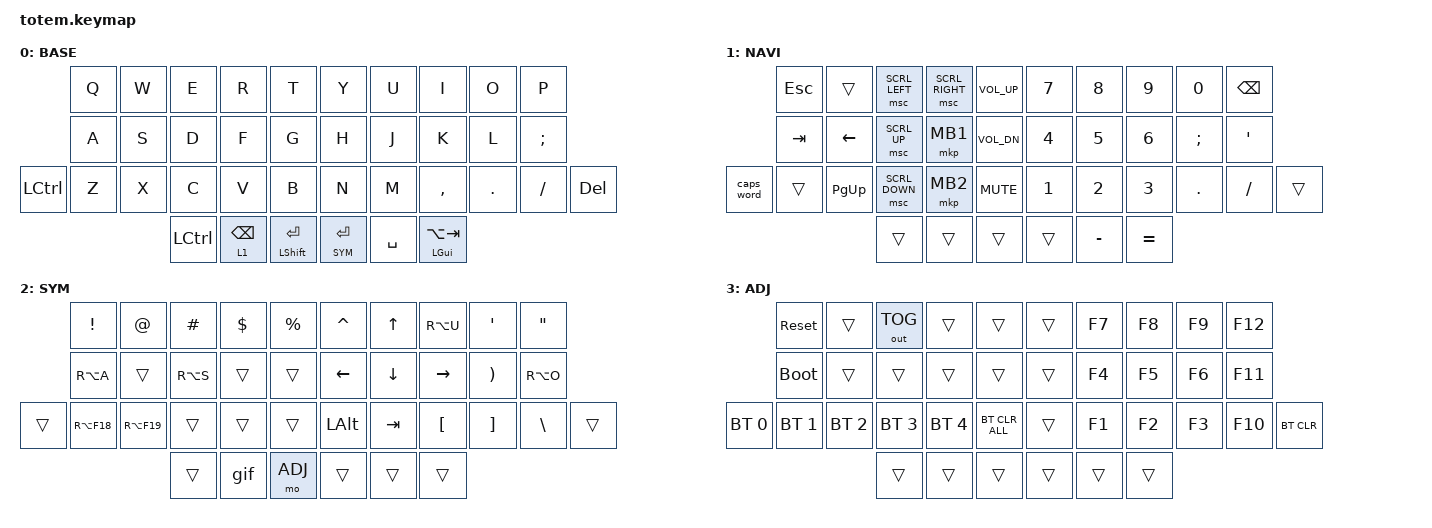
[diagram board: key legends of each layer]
//
//                                                        ▀▀▀▀▀     ▀▀▀▀▀          ▀▀█▀▀
//                                                        ▄▀▀▀▄  ▄  ▄▀▀▀▄  ▄  ▄▀▀▀▄  █  ▄▀▀▀▄
//                                                        █   █  █  █   █  █  █   █  █  █   █
//                                                         ▀▀▀   █   ▀▀▀   █   ▀▀▀   ▀   ▀▀▀
//                                                               █      ▄▄▄█▄▄▄    █   █  
//                                                               ▀      █  █  █     █▄█
//                                                             ▀▀▀▀▀    █  █  █      ▀
//                                                                      ▀  ▀  ▀
//
// ▄▄▄▄▄▄▄▄▄▄▄▄▄▄▄▄▄▄▄▄▄▄▄▄▄▄▄▄▄▄▄▄▄▄▄▄▄▄▄▄▄▄▄▄▄▄▄▄▄▄▄▄▄▄▄▄▄▄▄▄▄▄▄▄▄▄▄▄▄▄▄▄▄▄▄▄▄▄▄▄▄▄▄▄▄▄▄▄▄▄▄▄▄▄▄▄▄▄▄▄▄▄▄▄▄▄▄▄▄▄▄▄▄▄▄▄▄▄▄▄▄▄▄▄▄▄▄▄▄▄▄▄▄▄▄▄▄▄▄▄▄▄▄▄▄▄▄▄▄

#include <behaviors.dtsi>
#include <dt-bindings/zmk/bt.h>
#include <dt-bindings/zmk/keys.h>
#include <dt-bindings/zmk/outputs.h>
#include <dt-bindings/zmk/pointing.h>

#define BASE 0
#define NAV  1
#define SYM  2
#define ADJ  3

&mt {
    quick-tap-ms = <100>;
    global-quick-tap;
    flavor = "tap-preferred";
    tapping-term-ms = <170>;
};

/ {
    combos {
        compatible = "zmk,combos";

        combo_esc {
            timeout-ms = <50>;
            key-positions = <0 1>;
            bindings = <&kp ESC>;
        };
    };

    macros {
        gif: gif {
            label = "giphy";
            compatible = "zmk,behavior-macro";
            #binding-cells = <0>;
            bindings =
                <&macro_press>,
                <&kp LSHFT>,
                <&macro_tap>,
                <&kp N2>,
                <&macro_release>,
                <&kp LSHFT>,
                <&macro_tap>,
                <&kp G &kp I &kp F>;
        };
    };

    keymap {
        compatible = "zmk,keymap";

        // ▄▄▄▄▄▄▄▄▄▄▄▄▄▄▄▄▄▄▄▄▄▄▄▄▄▄▄▄▄▄▄▄▄▄▄▄▄▄▄▄▄▄▄▄▄▄▄▄▄▄▄▄▄▄▄▄▄▄▄▄▄▄▄▄▄▄▄▄▄▄▄▄▄▄▄▄▄▄▄▄▄▄▄▄▄▄▄▄▄▄▄▄▄▄▄▄▄▄▄▄▄▄▄▄▄▄▄▄▄▄▄▄▄▄▄▄▄▄▄▄▄▄▄▄▄▄▄▄▄▄▄▄▄▄▄▄▄▄▄▄▄▄▄▄▄▄▄▄▄

        base_layer {
            // ┏━━━━━━━━━━━━━━━━━━━━━━━━━━━━━━━━━━━━━━━┓

            label = "BASE";

            // ┗━━━━━━━━━━━━━━━━━━━━━━━━━━━━━━━━━━━━━━━┛
            //             ┏━━━━━━━━━━━┳━━━━━━━━━━━┳━━━━━━━━━━━┳━━━━━━━━━━━┳━━━━━━━━━━━┓   ┏━━━━━━━━━━━┳━━━━━━━━━━━┳━━━━━━━━━━━┳━━━━━━━━━━━┳━━━━━━━━━━━┓
            //             ┃     Q     ┃     W     ┃     F     ┃     P     ┃     G     ┃   ┃     J     ┃     L     ┃     U     ┃     Y     ┃     ;     ┃
            //             ┣━━━━━━━━━━━╋━━━━━━━━━━━╋━━━━━━━━━━━╋━━━━━━━━━━━╋━━━━━━━━━━━┫   ┣━━━━━━━━━━━╋━━━━━━━━━━━╋━━━━━━━━━━━╋━━━━━━━━━━━╋━━━━━━━━━━━┫
            //             ┃     A     ┃     R     ┃     S     ┃     T     ┃     D     ┃   ┃     H     ┃     N     ┃     E     ┃     I     ┃     O     ┃
            // ┏━━━━━━━━━━━╋━━━━━━━━━━━╋━━━━━━━━━━━╋━━━━━━━━━━━╋━━━━━━━━━━━╋━━━━━━━━━━━┫   ┣━━━━━━━━━━━╋━━━━━━━━━━━╋━━━━━━━━━━━╋━━━━━━━━━━━╋━━━━━━━━━━━╋━━━━━━━━━━━┓
            // ┃           ┃     Z     ┃     X     ┃     C     ┃     V     ┃     B     ┃   ┃     K     ┃     M     ┃     ,     ┃     .     ┃     /     ┃           ┃
            // ┗━━━━━━━━━━━┻━━━━━━━━━━━┻━━━━━━━━━━━╋━━━━━━━━━━━╋━━━━━━━━━━━╋━━━━━━━━━━━┫   ┣━━━━━━━━━━━╋━━━━━━━━━━━╋━━━━━━━━━━━╋━━━━━━━━━━━┻━━━━━━━━━━━┻━━━━━━━━━━━┛
            //                                     ┃           ┃    TAB    ┃    SPC    ┃   ┃   ENTER   ┃   BSPC    ┃           ┃
            //                                     ┗━━━━━━━━━━━┻━━━━━━━━━━━┻━━━━━━━━━━━┛   ┗━━━━━━━━━━━┻━━━━━━━━━━━┻━━━━━━━━━━━┛

            bindings = <
                  &kp Q  &kp W  &kp E             &kp R            &kp T                   &kp Y        &kp U      &kp I                 &kp O    &kp P
                  &kp A  &kp S  &kp D             &kp F            &kp G                   &kp H        &kp J      &kp K                 &kp L    &kp SEMICOLON
&kp LEFT_CONTROL  &kp Z  &kp X  &kp C             &kp V            &kp B                   &kp N        &kp M      &kp COMMA             &kp DOT  &kp SLASH      &kp DEL
                                &kp LEFT_CONTROL  &lt 1 BACKSPACE  &mt LEFT_SHIFT ENTER    &lt SYM RET  &kp SPACE  &mt LEFT_GUI LA(TAB)
            >;
        };

        // ▄▄▄▄▄▄▄▄▄▄▄▄▄▄▄▄▄▄▄▄▄▄▄▄▄▄▄▄▄▄▄▄▄▄▄▄▄▄▄▄▄▄▄▄▄▄▄▄▄▄▄▄▄▄▄▄▄▄▄▄▄▄▄▄▄▄▄▄▄▄▄▄▄▄▄▄▄▄▄▄▄▄▄▄▄▄▄▄▄▄▄▄▄▄▄▄▄▄▄▄▄▄▄▄▄▄▄▄▄▄▄▄▄▄▄▄▄▄▄▄▄▄▄▄▄▄▄▄▄▄▄▄▄▄▄▄▄▄▄▄▄▄▄▄▄▄▄▄▄

        nav_layer {
            // ┏━━━━━━━━━━━━━━━━━━━━━━━━━━━━━━━━━━━━━━━┓

            label = "NAVI";

            // ┗━━━━━━━━━━━━━━━━━━━━━━━━━━━━━━━━━━━━━━━┛
            //             ┏━━━━━━━━━━━┳━━━━━━━━━━━┳━━━━━━━━━━━┳━━━━━━━━━━━┳━━━━━━━━━━━┓   ┏━━━━━━━━━━━┳━━━━━━━━━━━┳━━━━━━━━━━━┳━━━━━━━━━━━┳━━━━━━━━━━━┓
            //             ┃           ┃           ┃     UP    ┃           ┃     {     ┃   ┃     }     ┃     7     ┃     8     ┃     9     ┃     +     ┃
            //             ┣━━━━━━━━━━━╋━━━━━━━━━━━╋━━━━━━━━━━━╋━━━━━━━━━━━╋━━━━━━━━━━━┫   ┣━━━━━━━━━━━╋━━━━━━━━━━━╋━━━━━━━━━━━╋━━━━━━━━━━━╋━━━━━━━━━━━┫
            //             ┃   SHIFT   ┃   LEFT    ┃    DOWN   ┃   RIGHT   ┃     [     ┃   ┃     ]     ┃     4     ┃     5     ┃     6     ┃     -     ┃
            // ┏━━━━━━━━━━━╋━━━━━━━━━━━╋━━━━━━━━━━━╋━━━━━━━━━━━╋━━━━━━━━━━━╋━━━━━━━━━━━┫   ┣━━━━━━━━━━━╋━━━━━━━━━━━╋━━━━━━━━━━━╋━━━━━━━━━━━╋━━━━━━━━━━━╋━━━━━━━━━━━┓
            // ┃           ┃           ┃   P UP    ┃  C LOCK   ┃  P DOWN   ┃     (     ┃   ┃     )     ┃     1     ┃     2     ┃     3     ┃     *     ┃           ┃
            // ┗━━━━━━━━━━━┻━━━━━━━━━━━┻━━━━━━━━━━━╋━━━━━━━━━━━╋━━━━━━━━━━━╋━━━━━━━━━━━┫   ┣━━━━━━━━━━━╋━━━━━━━━━━━╋━━━━━━━━━━━╋━━━━━━━━━━━┻━━━━━━━━━━━┻━━━━━━━━━━━┛
            //                                     ┃           ┃    TAB    ┃    SPC    ┃   ┃    DEL    ┃     0     ┃           ┃
            //                                     ┗━━━━━━━━━━━┻━━━━━━━━━━━┻━━━━━━━━━━━┛   ┗━━━━━━━━━━━┻━━━━━━━━━━━┻━━━━━━━━━━━┛

            bindings = <
            &kp ESC  &trans     &msc SCRL_LEFT  &msc SCRL_RIGHT  &kp C_VOLUME_UP    &kp N7        &kp N8        &kp N9        &kp N0         &kp BACKSPACE
            &kp TAB  &kp LEFT   &msc SCRL_UP    &mkp MB1         &kp C_VOL_DN       &kp NUMBER_4  &kp N5        &kp NUMBER_6  &kp SEMICOLON  &kp SQT
&caps_word  &trans   &kp PG_UP  &msc SCRL_DOWN  &mkp MB2         &kp K_MUTE         &kp NUMBER_1  &kp NUMBER_2  &kp NUMBER_3  &kp PERIOD     &kp SLASH      &trans
                                &trans          &trans           &trans             &trans        &kp MINUS     &kp EQUAL
            >;
        };

        // ▄▄▄▄▄▄▄▄▄▄▄▄▄▄▄▄▄▄▄▄▄▄▄▄▄▄▄▄▄▄▄▄▄▄▄▄▄▄▄▄▄▄▄▄▄▄▄▄▄▄▄▄▄▄▄▄▄▄▄▄▄▄▄▄▄▄▄▄▄▄▄▄▄▄▄▄▄▄▄▄▄▄▄▄▄▄▄▄▄▄▄▄▄▄▄▄▄▄▄▄▄▄▄▄▄▄▄▄▄▄▄▄▄▄▄▄▄▄▄▄▄▄▄▄▄▄▄▄▄▄▄▄▄▄▄▄▄▄▄▄▄▄▄▄▄▄▄▄▄

        sim_layer {
            // ┏━━━━━━━━━━━━━━━━━━━━━━━━━━━━━━━━━━━━━━━┓

            label = "SYM";

            // ┗━━━━━━━━━━━━━━━━━━━━━━━━━━━━━━━━━━━━━━━┛
            //             ┏━━━━━━━━━━━┳━━━━━━━━━━━┳━━━━━━━━━━━┳━━━━━━━━━━━┳━━━━━━━━━━━┓   ┏━━━━━━━━━━━┳━━━━━━━━━━━┳━━━━━━━━━━━┳━━━━━━━━━━━┳━━━━━━━━━━━┓
            //             ┃     !     ┃     @     ┃     #     ┃     $     ┃     %     ┃   ┃     ˆ     ┃     &     ┃     Ü     ┃     '     ┃     "     ┃
            //             ┣━━━━━━━━━━━╋━━━━━━━━━━━╋━━━━━━━━━━━╋━━━━━━━━━━━╋━━━━━━━━━━━┫   ┣━━━━━━━━━━━╋━━━━━━━━━━━╋━━━━━━━━━━━╋━━━━━━━━━━━╋━━━━━━━━━━━┫
            //             ┃     Ä     ┃           ┃    SZ     ┃           ┃           ┃   ┃   MUTE    ┃   YEN     ┃   EURO    ┃  POUND    ┃     Ö     ┃
            // ┏━━━━━━━━━━━╋━━━━━━━━━━━╋━━━━━━━━━━━╋━━━━━━━━━━━╋━━━━━━━━━━━╋━━━━━━━━━━━┫   ┣━━━━━━━━━━━╋━━━━━━━━━━━╋━━━━━━━━━━━╋━━━━━━━━━━━╋━━━━━━━━━━━╋━━━━━━━━━━━┓
            // ┃           ┃  EMAIL1   ┃  EMAIL2   ┃           ┃           ┃           ┃   ┃   VOL-    ┃   VOL+    ┃   LAST    ┃   NEXT    ┃     \     ┃           ┃
            // ┗━━━━━━━━━━━┻━━━━━━━━━━━┻━━━━━━━━━━━╋━━━━━━━━━━━╋━━━━━━━━━━━╋━━━━━━━━━━━┫   ┣━━━━━━━━━━━╋━━━━━━━━━━━╋━━━━━━━━━━━╋━━━━━━━━━━━┻━━━━━━━━━━━┻━━━━━━━━━━━┛
            //                                     ┃           ┃    GIF    ┃    ADJ    ┃   ┃           ┃           ┃           ┃
            //                                     ┗━━━━━━━━━━━┻━━━━━━━━━━━┻━━━━━━━━━━━┛   ┗━━━━━━━━━━━┻━━━━━━━━━━━┻━━━━━━━━━━━┛

            bindings = <
        &kp EXCL     &kp AT       &kp HASH   &kp DLLR  &kp PRCNT    &kp CARET     &kp UP_ARROW  &kp RA(U)         &kp SQT                &kp DQT
        &kp RA(A)    &trans       &kp RA(S)  &trans    &trans       &kp LEFT      &kp DOWN      &kp RIGHT         &kp RIGHT_PARENTHESIS  &kp RA(O)
&trans  &kp RA(F18)  &kp RA(F19)  &trans     &trans    &trans       &kp LEFT_ALT  &kp TAB       &kp LEFT_BRACKET  &kp RIGHT_BRACKET      &kp BSLH   &trans
                                  &trans     &gif      &mo ADJ      &trans        &trans        &trans
            >;
        };

        // ▄▄▄▄▄▄▄▄▄▄▄▄▄▄▄▄▄▄▄▄▄▄▄▄▄▄▄▄▄▄▄▄▄▄▄▄▄▄▄▄▄▄▄▄▄▄▄▄▄▄▄▄▄▄▄▄▄▄▄▄▄▄▄▄▄▄▄▄▄▄▄▄▄▄▄▄▄▄▄▄▄▄▄▄▄▄▄▄▄▄▄▄▄▄▄▄▄▄▄▄▄▄▄▄▄▄▄▄▄▄▄▄▄▄▄▄▄▄▄▄▄▄▄▄▄▄▄▄▄▄▄▄▄▄▄▄▄▄▄▄▄▄▄▄▄▄▄▄▄

        adjust_layer {
            // ┏━━━━━━━━━━━━━━━━━━━━━━━━━━━━━━━━━━━━━━━┓

            label = "ADJ";

            // ┗━━━━━━━━━━━━━━━━━━━━━━━━━━━━━━━━━━━━━━━┛
            //             ┏━━━━━━━━━━━┳━━━━━━━━━━━┳━━━━━━━━━━━┳━━━━━━━━━━━┳━━━━━━━━━━━┓   ┏━━━━━━━━━━━┳━━━━━━━━━━━┳━━━━━━━━━━━┳━━━━━━━━━━━┳━━━━━━━━━━━┓
            //             ┃   RESET   ┃ BT CLEAR  ┃  OUT TOG  ┃           ┃           ┃   ┃           ┃    F7     ┃    F8     ┃    F9     ┃    F12    ┃
            //             ┣━━━━━━━━━━━╋━━━━━━━━━━━╋━━━━━━━━━━━╋━━━━━━━━━━━╋━━━━━━━━━━━┫   ┣━━━━━━━━━━━╋━━━━━━━━━━━╋━━━━━━━━━━━╋━━━━━━━━━━━╋━━━━━━━━━━━┫
            //             ┃ BOOTLOAD  ┃ BT NEXT   ┃           ┃           ┃           ┃   ┃           ┃    F4     ┃    F5     ┃    F6     ┃    F11    ┃
            // ┏━━━━━━━━━━━╋━━━━━━━━━━━╋━━━━━━━━━━━╋━━━━━━━━━━━╋━━━━━━━━━━━╋━━━━━━━━━━━┫   ┣━━━━━━━━━━━╋━━━━━━━━━━━╋━━━━━━━━━━━╋━━━━━━━━━━━╋━━━━━━━━━━━╋━━━━━━━━━━━┓
            // ┃           ┃           ┃ BT PREV   ┃           ┃           ┃           ┃   ┃           ┃    F1     ┃    F2     ┃    F3     ┃    F10    ┃           ┃
            // ┗━━━━━━━━━━━┻━━━━━━━━━━━┻━━━━━━━━━━━╋━━━━━━━━━━━╋━━━━━━━━━━━╋━━━━━━━━━━━┫   ┣━━━━━━━━━━━╋━━━━━━━━━━━╋━━━━━━━━━━━╋━━━━━━━━━━━┻━━━━━━━━━━━┻━━━━━━━━━━━┛
            //                                     ┃           ┃           ┃           ┃   ┃           ┃           ┃           ┃
            //                                     ┗━━━━━━━━━━━┻━━━━━━━━━━━┻━━━━━━━━━━━┛   ┗━━━━━━━━━━━┻━━━━━━━━━━━┻━━━━━━━━━━━┛

            bindings = <
              &sys_reset    &trans        &out OUT_TOG  &trans        &trans            &trans  &kp F7  &kp F8  &kp F9  &kp F12
              &bootloader   &trans        &trans        &trans        &trans            &trans  &kp F4  &kp F5  &kp F6  &kp F11
&bt BT_SEL 0  &bt BT_SEL 1  &bt BT_SEL 2  &bt BT_SEL 3  &bt BT_SEL 4  &bt BT_CLR_ALL    &trans  &kp F1  &kp F2  &kp F3  &kp F10  &bt BT_CLR
                                          &trans        &trans        &trans            &trans  &trans  &trans
            >;
        };
    };
};
